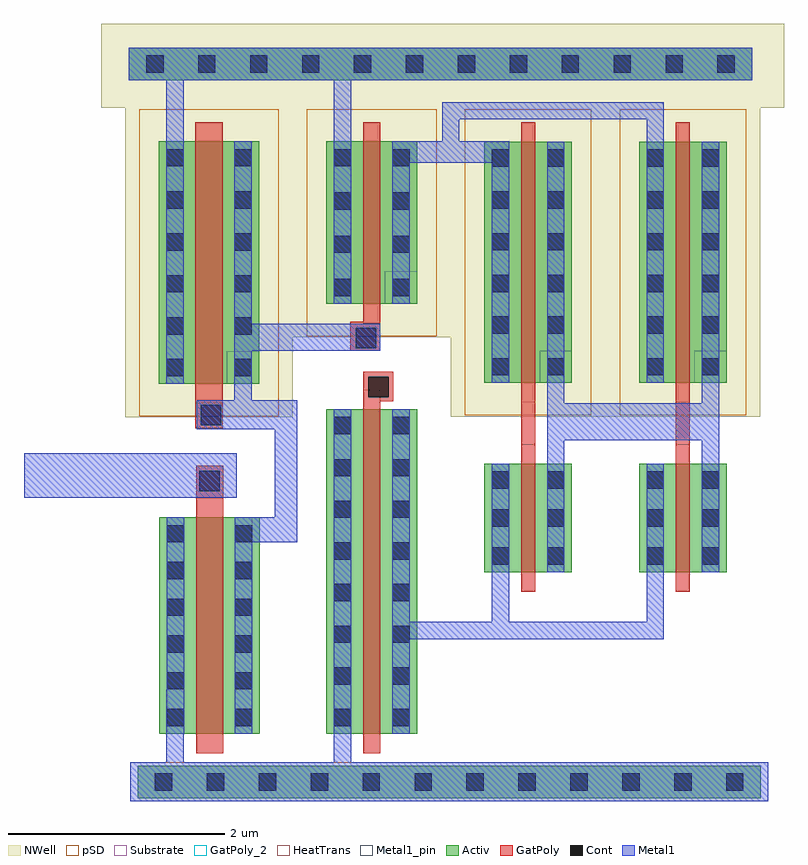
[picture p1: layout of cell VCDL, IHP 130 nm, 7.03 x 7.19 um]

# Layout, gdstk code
import gdstk
lib = gdstk.Library(unit=1e-6, precision=1e-09)
def R(c, l, rs):  # rectangles x0, y0, x1, y1
    for r in rs: c.add(gdstk.rectangle(r[:2], r[2:], *l))
def A(c, l, x, y, w, h, nx, ny, dx, dy):  # array of equal rectangles
    R(c, l, [(x+i*dx, y+j*dy, x+i*dx+w, y+j*dy+h) for i in range(nx) for j in range(ny)])
Activ = (1, 0)
GatPoly = (5, 0)
GatPoly_2 = (5, 2)
Cont = (6, 0)
Metal1 = (8, 0)
Metal1_pin = (8, 2)
pSD = (14, 0)
NWell = (31, 0)
Substrate = (40, 0)
HeatTrans = (51, 0)

nmos_2 = lib.new_cell('nmos$2')
R(nmos_2, Activ, [(0,0,0.3,0.3), (0,0,0.93,2), (0.63,0,0.93,0.3)])
R(nmos_2, GatPoly, [(0.34,-0.18,0.59,2.18)])
R(nmos_2, GatPoly_2, [(0.34,-0.18,0.59,2.18)])
A(nmos_2, Cont, 0.07, 0.07, 0.16, 0.16, 1, 6, 0, 0.34)
A(nmos_2, Cont, 0.7, 0.07, 0.16, 0.16, 1, 6, 0, 0.34)
R(nmos_2, Metal1, [(0.07,0,0.23,2), (0.7,0,0.86,2)])
R(nmos_2, Metal1_pin, [(0.07,0,0.23,2), (0.7,0,0.86,2)])
R(nmos_2, HeatTrans, [(0.34,-0.18,0.59,2.18)])
nmos_2.add(gdstk.Label('nmos', (0.465,1), layer=63, texttype=0))
nmos_2.add(gdstk.Label('nmos', (0.465,1), layer=51, texttype=0))

pmos_3 = lib.new_cell('pmos$3')
R(pmos_3, Activ, [(0,0,0.3,0.3), (0,0,0.81,2.23), (0.51,0,0.81,0.3)])
R(pmos_3, GatPoly, [(0.34,-0.18,0.47,2.41), (0.34,-0.18,0.47,2.41)])
A(pmos_3, Cont, 0.07, 0.07, 0.16, 0.16, 1, 5, 0, 0.385)
A(pmos_3, Cont, 0.58, 0.07, 0.16, 0.16, 1, 5, 0, 0.385)
R(pmos_3, Cont, [(0.07,2,0.23,2.16), (0.58,2,0.74,2.16)])
R(pmos_3, Metal1, [(0.07,0,0.23,2.23), (0.07,0,0.23,2.23), (0.58,0,0.74,2.23), (0.58,0,0.74,2.23)])
R(pmos_3, pSD, [(-0.18,-0.3,0.99,2.53)])
R(pmos_3, NWell, [(-0.31,-0.31,1.12,2.54)])
R(pmos_3, Substrate, [(0.51,0,0.81,0.3)])
R(pmos_3, HeatTrans, [(0.34,-0.18,0.47,2.41)])
pmos_3.add(gdstk.Label('pmos', (0.405,1.115), layer=63, texttype=0))
pmos_3.add(gdstk.Label('pmos', (0.405,1.115), layer=51, texttype=0))

pmos_1 = lib.new_cell('pmos$1')
R(pmos_1, Activ, [(0,0,0.3,0.3), (0,0,0.84,1.5), (0.54,0,0.84,0.3)])
R(pmos_1, GatPoly, [(0.34,-0.18,0.5,1.68), (0.34,-0.18,0.5,1.68)])
A(pmos_1, Cont, 0.07, 0.07, 0.16, 0.16, 1, 4, 0, 0.4)
A(pmos_1, Cont, 0.61, 0.07, 0.16, 0.16, 1, 4, 0, 0.4)
R(pmos_1, Metal1, [(0.07,0,0.23,1.5), (0.07,0,0.23,1.5), (0.61,0,0.77,1.5), (0.61,0,0.77,1.5)])
R(pmos_1, pSD, [(-0.18,-0.3,1.02,1.8)])
R(pmos_1, NWell, [(-0.31,-0.31,1.15,1.81)])
R(pmos_1, Substrate, [(0.54,0,0.84,0.3)])
R(pmos_1, HeatTrans, [(0.34,-0.18,0.5,1.68)])
pmos_1.add(gdstk.Label('pmos', (0.42,0.75), layer=63, texttype=0))
pmos_1.add(gdstk.Label('pmos', (0.42,0.75), layer=51, texttype=0))

pmos = lib.new_cell('pmos')
R(pmos, Activ, [(0,0,0.3,0.3), (0,0,0.93,2.24), (0.63,0,0.93,0.3)])
R(pmos, GatPoly, [(0.34,-0.18,0.59,2.42), (0.34,-0.18,0.59,2.42)])
A(pmos, Cont, 0.07, 1.23, 0.16, 0.16, 1, 3, 0, 0.39)
A(pmos, Cont, 0.7, 1.23, 0.16, 0.16, 1, 3, 0, 0.39)
R(pmos, Cont, [(0.07,0.07,0.23,0.23), (0.7,0.07,0.86,0.23), (0.07,0.455,0.23,0.615), (0.7,0.455,0.86,0.615), (0.07,0.845,0.23,1.005), (0.7,0.845,0.86,1.005)])
R(pmos, Metal1, [(0.07,0,0.23,2.24), (0.07,0,0.23,2.24), (0.7,0,0.86,2.24), (0.7,0,0.86,2.24)])
R(pmos, pSD, [(-0.18,-0.3,1.11,2.54)])
R(pmos, NWell, [(-0.31,-0.31,1.24,2.55)])
R(pmos, Substrate, [(0.63,0,0.93,0.3)])
R(pmos, HeatTrans, [(0.34,-0.18,0.59,2.42)])
pmos.add(gdstk.Label('pmos', (0.465,1.12), layer=63, texttype=0))
pmos.add(gdstk.Label('pmos', (0.465,1.12), layer=51, texttype=0))

nmos_4 = lib.new_cell('nmos$4')
R(nmos_4, Activ, [(0,0,0.3,0.3), (0,0,0.81,1), (0.51,0,0.81,0.3)])
R(nmos_4, GatPoly, [(0.34,-0.18,0.47,1.18)])
R(nmos_4, GatPoly_2, [(0.34,-0.18,0.47,1.18)])
A(nmos_4, Cont, 0.07, 0.07, 0.16, 0.16, 1, 3, 0, 0.35)
A(nmos_4, Cont, 0.58, 0.07, 0.16, 0.16, 1, 3, 0, 0.35)
R(nmos_4, Metal1, [(0.07,0,0.23,1), (0.58,0,0.74,1)])
R(nmos_4, Metal1_pin, [(0.07,0,0.23,1), (0.58,0,0.74,1)])
R(nmos_4, HeatTrans, [(0.34,-0.18,0.47,1.18)])
nmos_4.add(gdstk.Label('nmos', (0.405,0.5), layer=63, texttype=0))
nmos_4.add(gdstk.Label('nmos', (0.405,0.5), layer=51, texttype=0))

nmos = lib.new_cell('nmos')
R(nmos, Activ, [(0,0,0.3,0.3), (0,0,0.84,3), (0.54,0,0.84,0.3)])
R(nmos, GatPoly, [(0.34,-0.18,0.5,3.18)])
R(nmos, GatPoly_2, [(0.34,-0.18,0.5,3.18)])
A(nmos, Cont, 0.07, 0.07, 0.16, 0.16, 1, 7, 0, 0.385)
A(nmos, Cont, 0.61, 0.07, 0.16, 0.16, 1, 7, 0, 0.385)
R(nmos, Cont, [(0.07,2.77,0.23,2.93), (0.61,2.77,0.77,2.93)])
R(nmos, Metal1, [(0.07,0,0.23,3), (0.61,0,0.77,3)])
R(nmos, Metal1_pin, [(0.07,0,0.23,3), (0.61,0,0.77,3)])
R(nmos, HeatTrans, [(0.34,-0.18,0.5,3.18)])
nmos.add(gdstk.Label('nmos', (0.42,1.5), layer=63, texttype=0))
nmos.add(gdstk.Label('nmos', (0.42,1.5), layer=51, texttype=0))

vcdl = lib.new_cell('VCDL')
A(vcdl, Activ, 11.195, 2.74, 1.44, 0.3, 4, 1, 1.44, 0)
A(vcdl, Activ, 11.115, 9.375, 1.44, 0.3, 4, 1, 1.44, 0)
R(vcdl, GatPoly, [(11.735,5.515,11.985,5.815), (14.74,6.01,14.87,6.398), (16.17,6.01,16.3,6.398), (11.73,6.16,11.98,6.53), (13.28,6.41,13.56,6.68), (13.16,6.875,13.44,7.145)])
R(vcdl, Cont, [(11.355,2.81,11.515,2.97), (11.355,2.81,11.515,2.97), (11.835,2.81,11.995,2.97), (11.835,2.81,11.995,2.97), (12.315,2.81,12.475,2.97), (12.315,2.81,12.475,2.97), (12.795,2.81,12.955,2.97), (12.795,2.81,12.955,2.97), (13.275,2.81,13.435,2.97), (13.275,2.81,13.435,2.97), (13.755,2.81,13.915,2.97), (13.755,2.81,13.915,2.97), (14.235,2.81,14.395,2.97), (14.235,2.81,14.395,2.97), (14.715,2.81,14.875,2.97), (14.715,2.81,14.875,2.97), (15.195,2.81,15.355,2.97), (15.195,2.81,15.355,2.97), (15.675,2.81,15.835,2.97), (15.675,2.81,15.835,2.97), (16.155,2.81,16.315,2.97), (16.155,2.81,16.315,2.97), (16.635,2.81,16.795,2.97), (16.635,2.81,16.795,2.97), (11.765,5.575,11.955,5.765), (11.777,6.188,11.967,6.378), (13.325,6.445,13.515,6.635), (13.21,6.9,13.4,7.09), (11.275,9.445,11.435,9.605), (11.275,9.445,11.435,9.605), (11.755,9.445,11.915,9.605), (11.755,9.445,11.915,9.605), (12.235,9.445,12.395,9.605), (12.235,9.445,12.395,9.605), (12.715,9.445,12.875,9.605), (12.715,9.445,12.875,9.605), (13.195,9.445,13.355,9.605), (13.195,9.445,13.355,9.605), (13.675,9.445,13.835,9.605), (13.675,9.445,13.835,9.605), (14.155,9.445,14.315,9.605), (14.155,9.445,14.315,9.605), (14.635,9.445,14.795,9.605), (14.635,9.445,14.795,9.605), (15.115,9.445,15.275,9.605), (15.115,9.445,15.275,9.605), (15.595,9.445,15.755,9.605), (15.595,9.445,15.755,9.605), (16.075,9.445,16.235,9.605), (16.075,9.445,16.235,9.605), (16.555,9.445,16.715,9.605), (16.555,9.445,16.715,9.605)])
R(vcdl, Metal1, [(11.125,2.71,17.025,3.07), (11.46,3.07,11.62,3.74), (13.01,3.07,13.17,3.61), (12.095,5.105,12.67,5.335), (12.465,5.105,12.67,6.42), (10.145,5.515,12.11,5.93), (14.98,5.83,15.14,6.578), (16.41,5.83,16.57,6.578), (14.98,6.05,16.57,6.39), (11.74,6.15,12.51,6.42), (12.09,6.16,12.25,6.57), (13.55,8.615,14.63,8.81), (11.46,8.81,11.62,9.445), (13.01,8.81,13.17,9.42), (11.115,9.375,16.875,9.675)])
A(vcdl, pSD, 11.125, 2.71, 1.58, 0.36, 4, 1, 1.44, 0)
R(vcdl, NWell, [(10.86,9.12,17.17,9.9)])
vcdl.add(gdstk.FlexPath([(15.98,4.83),(15.98,4.29),(13.55,4.29),(13.55,4.29)], 0.16, ends="flush", simple_path=True, layer=8, datatype=0))  # Metal1
vcdl.add(gdstk.FlexPath([(14.55,4.83),(14.55,4.29),(14.55,4.29)], 0.16, ends="flush", simple_path=True, layer=8, datatype=0))  # Metal1
vcdl.add(gdstk.FlexPath([(15.98,8.808),(15.98,9.095),(14.09,9.095),(14.09,8.808)], 0.16, ends="flush", simple_path=True, layer=8, datatype=0))  # Metal1
vcdl.add(gdstk.FlexPath([(13.44,7),(12.765,7),(12.09,7)], 0.25, ends="flush", simple_path=True, layer=8, datatype=0))  # Metal1
vcdl.add(gdstk.Reference(nmos_2, (11.395,3.335)))
vcdl.add(gdstk.Reference(pmos_3, (14.4,6.578)))
vcdl.add(gdstk.Reference(pmos_1, (12.94,7.31)))
vcdl.add(gdstk.Reference(pmos, (11.39,6.57)))
vcdl.add(gdstk.Reference(pmos_3, (15.83,6.578)))
vcdl.add(gdstk.Reference(nmos_4, (14.4,4.83)))
vcdl.add(gdstk.Reference(nmos, (12.94,3.335)))
vcdl.add(gdstk.Reference(nmos_4, (15.83,4.83)))

lib.write_gds('VCDL.gds')
